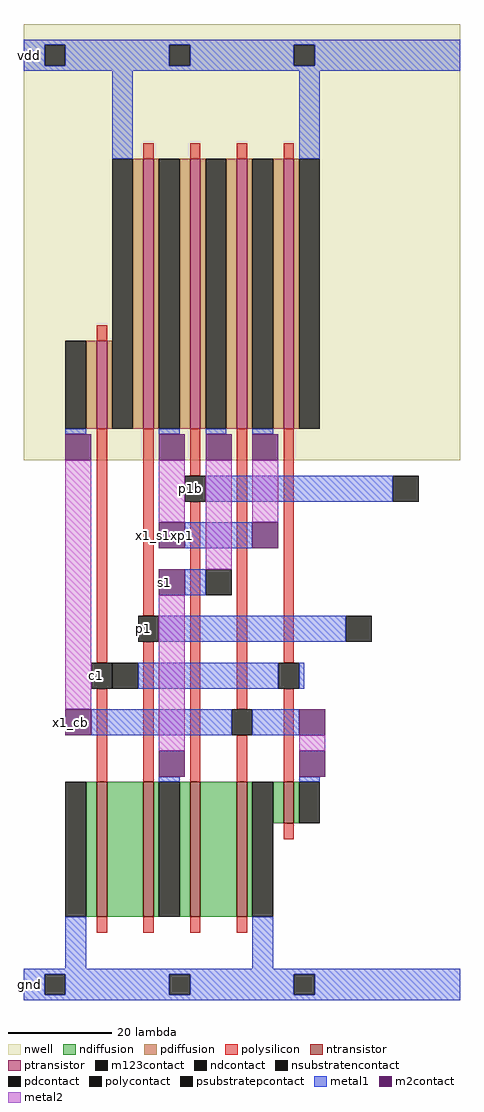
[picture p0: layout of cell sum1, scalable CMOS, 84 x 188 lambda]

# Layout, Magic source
magic
tech scmos
<< nwell >>
rect 0 104 84 188
<< ntransistor >>
rect 14 16 16 42
rect 23 16 25 42
rect 32 16 34 42
rect 41 16 43 42
rect 50 34 52 42
<< ptransistor >>
rect 14 110 16 127
rect 23 110 25 162
rect 32 110 34 162
rect 41 110 43 162
rect 50 110 52 162
<< ndiffusion >>
rect 12 16 14 42
rect 16 16 23 42
rect 25 16 26 42
rect 30 16 32 42
rect 34 16 41 42
rect 43 16 44 42
rect 48 34 50 42
rect 52 34 53 42
<< pdiffusion >>
rect 12 110 14 127
rect 16 110 17 127
rect 21 110 23 162
rect 25 110 26 162
rect 30 110 32 162
rect 34 110 35 162
rect 39 110 41 162
rect 43 110 44 162
rect 48 110 50 162
rect 52 110 53 162
<< ndcontact >>
rect 8 16 12 42
rect 26 16 30 42
rect 44 16 48 42
rect 53 34 57 42
<< pdcontact >>
rect 8 110 12 127
rect 17 110 21 162
rect 26 110 30 162
rect 35 110 39 162
rect 44 110 48 162
rect 53 110 57 162
<< psubstratepcontact >>
rect 4 1 8 5
rect 28 1 32 5
rect 52 1 56 5
<< nsubstratencontact >>
rect 4 180 8 184
rect 28 180 32 184
rect 52 180 56 184
<< polysilicon >>
rect 23 162 25 165
rect 32 162 34 165
rect 41 162 43 165
rect 50 162 52 165
rect 14 127 16 130
rect 14 65 16 110
rect 23 74 25 110
rect 32 101 34 110
rect 14 42 16 60
rect 23 42 25 69
rect 32 42 34 96
rect 41 56 43 110
rect 50 65 52 110
rect 41 42 43 51
rect 50 42 52 60
rect 50 31 52 34
rect 14 13 16 16
rect 23 13 25 16
rect 32 13 34 16
rect 41 13 43 16
<< polycontact >>
rect 31 96 35 101
rect 22 69 26 74
rect 13 60 17 65
rect 49 60 53 65
rect 40 51 44 56
<< metal1 >>
rect 0 184 84 185
rect 0 180 4 184
rect 8 180 28 184
rect 32 180 52 184
rect 56 180 84 184
rect 0 179 84 180
rect 17 162 21 179
rect 53 162 57 179
rect 8 109 12 110
rect 26 109 30 110
rect 35 109 39 110
rect 44 109 48 110
rect 35 96 71 101
rect 31 87 44 92
rect 31 78 35 83
rect 26 69 62 74
rect 22 60 49 65
rect 53 60 54 65
rect 13 51 40 56
rect 44 51 53 56
rect 26 42 30 43
rect 53 42 57 43
rect 8 6 12 16
rect 44 6 48 16
rect 0 5 84 6
rect 0 1 4 5
rect 8 1 28 5
rect 32 1 52 5
rect 56 1 84 5
rect 0 0 84 1
<< m2contact >>
rect 8 104 13 109
rect 26 104 31 109
rect 35 104 40 109
rect 44 104 49 109
rect 26 87 31 92
rect 44 87 49 92
rect 26 78 31 83
rect 8 51 13 56
rect 53 51 58 56
rect 26 43 31 48
rect 53 43 58 48
<< metal2 >>
rect 8 56 13 104
rect 26 92 31 104
rect 35 83 40 104
rect 44 92 49 104
rect 26 48 31 78
rect 53 48 58 51
<< m123contact >>
rect 71 96 76 101
rect 35 78 40 83
rect 17 60 22 65
rect 62 69 67 74
<< labels >>
rlabel metal1 13 60 15 65 0 c1
port 1 nsew
rlabel metal1 22 69 24 74 0 p1
port 2 nsew
rlabel metal1 31 96 33 101 0 p1b
port 3 nsew
rlabel m2contact 26 78 28 83 0 s1
port 4 nsew
rlabel m2contact 8 51 10 56 0 x1_cb
rlabel m2contact 26 87 28 92 0 x1_s1xp1
rlabel metal1 0 179 2 185 0 vdd
port 5 nsew
rlabel metal1 0 0 2 6 0 gnd
port 6 nsew
<< end >>
